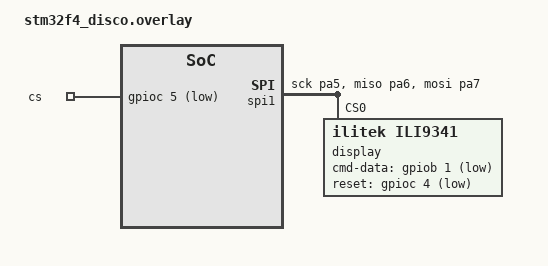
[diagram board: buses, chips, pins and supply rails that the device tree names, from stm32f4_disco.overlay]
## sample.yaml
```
sample:
  name: Blinky Sample
tests:
  sample.basic.blinky:
    tags: LED gpio
    filter: dt_enabled_alias_with_parent_compat("led0", "gpio-leds")
    depends_on: gpio, pwm
    harness: led
    integration_platforms:
      - frdm_k64f
```

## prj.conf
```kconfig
# Peripherals
CONFIG_GPIO=y
CONFIG_PWM=y
CONFIG_CAN=y
CONFIG_SPI=y
CONFIG_DISPLAY=y
CONFIG_ILI9341=y

# Systemview
CONFIG_SEGGER_SYSTEMVIEW=y
CONFIG_TRACING=y
```

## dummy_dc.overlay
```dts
/*
 * Copyright (c) 2021 Nordic Semiconductor ASA
 *
 * SPDX-License-Identifier: Apache-2.0
 */
/ {

};

	spi: &spi1 {
	status = "okay";
	pinctrl-0 = <&spi1_sck_pa5 &spi1_miso_pa6 &spi1_mosi_pa7>;
	cs-gpios = < &gpioc 5 GPIO_ACTIVE_LOW >;
	pinctrl-names = "default";
	clock-frequency = <10000000>;


	display: ili9341@0 {
		status = "okay";
		compatible = "ilitek,ili9341";
		cmd-data-gpios = <&gpiob 1 GPIO_ACTIVE_LOW>;
		reset-gpios = < &gpioc 4 GPIO_ACTIVE_LOW >;
		reg = <0x0 >;
		spi-max-frequency = <10000000>;
		height = <0>;
		width = <0>;
	};
};	
```

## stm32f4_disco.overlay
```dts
/ {
	pins {
		compatible = "gpio-keys";
		cs: pc5{
			gpios = < &gpioc 5 GPIO_ACTIVE_LOW>;
		};
	};
};

spi: &spi1 {
	status = "okay";
	pinctrl-0 = <&spi1_sck_pa5 &spi1_miso_pa6 &spi1_mosi_pa7>;
	pinctrl-names = "default";

	display: ili9341@0 {
		compatible = "ilitek,ili9341";
		cmd-data-gpios = <&gpiob 1 GPIO_ACTIVE_LOW>;
		reset-gpios = < &gpioc 4 GPIO_ACTIVE_LOW >;
		reg = <0x0 >;
		spi-max-frequency = <0>;
		height = <0>;
		width = <0>;
	};
};	
```

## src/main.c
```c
/*
 * Copyright (c) 2016 Intel Corporation
 *
 * SPDX-License-Identifier: Apache-2.0
 */

#include <zephyr/kernel.h>
#include <zephyr/device.h>
#include <zephyr/drivers/gpio.h>
#include <zephyr/drivers/pwm.h>
#include <zephyr/drivers/can.h>
#include <zephyr/devicetree.h>
#include <zephyr/drivers/display.h>
#include <zephyr/drivers/spi.h>
#include <stdio.h>
#include <string.h>
	
#include "SEGGER_RTT_printf.c"


const struct device* spi_dev = DEVICE_DT_GET(DT_NODELABEL(spi));
const struct device* display_dev = DEVICE_DT_GET(DT_NODELABEL(display));
const struct gpio_dt_spec display_chip_select = SPI_CS_GPIOS_DT_SPEC_GET(DT_NODELABEL(display));

char* data = "Hello World";
int ret;
int len;
struct display_capabilities display_cap;

struct display_buffer_descriptor des = {
   .width = 100,
   .height = 20,
   .pitch = 5,
};

void main(void){ 

   len = sizeof(data);
   des.buf_size = len;

   gpio_pin_configure_dt(&display_chip_select, GPIO_OUTPUT_INACTIVE);

	if (display_dev == NULL || !device_is_ready(display_dev)) {
		SEGGER_RTT_WriteString(0, "display not ready.\n");
	}
   	else { 
		SEGGER_RTT_WriteString(0, "display ready\n");
	}

	display_blanking_off(display_dev);
	
   while(1){

		ret = display_write(display_dev, 50, 50, &des, data);
		
		if(ret != 0){
			SEGGER_RTT_printf(0, "display_write error: %d\n", ret);
		}
		else {
			SEGGER_RTT_printf(0, "wrote to display\n");
		}
		k_msleep(5000);
   }
}
```
